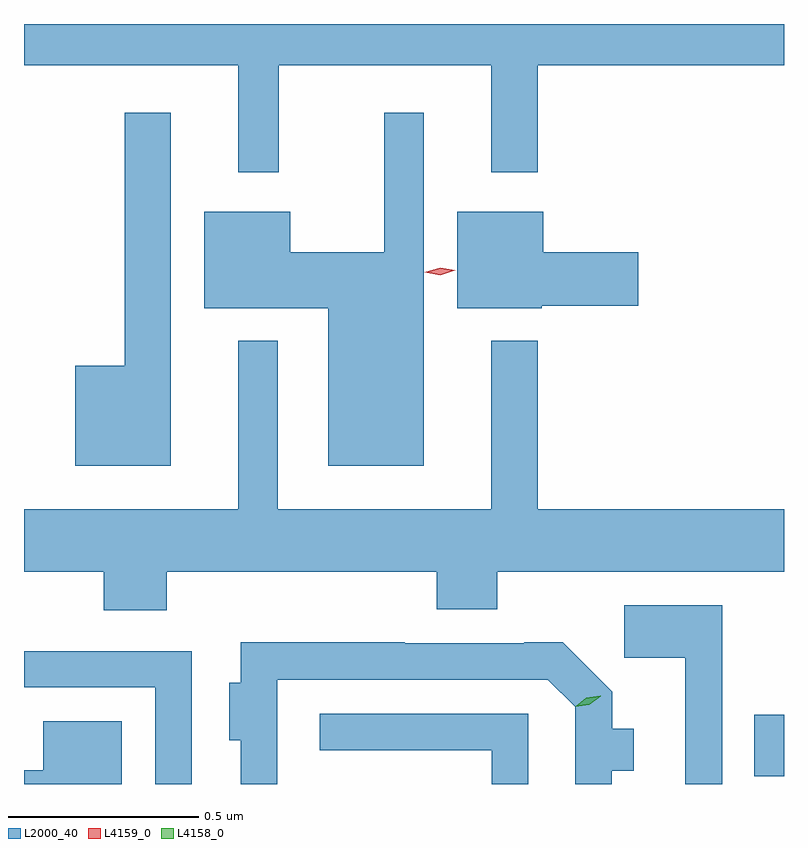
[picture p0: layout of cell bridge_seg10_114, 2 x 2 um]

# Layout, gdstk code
import gdstk
lib = gdstk.Library(unit=1e-6, precision=1e-09)
def R(c, l, rs):  # rectangles x0, y0, x1, y1
    for r in rs: c.add(gdstk.rectangle(r[:2], r[2:], *l))
def P(c, l, *ps):  # polygons
    for p in ps: c.add(gdstk.Polygon(p, *l))
L2000_40 = (2000, 40)
L4158_0 = (4158, 0)
L4159_0 = (4159, 0)

bridge_seg10_114 = lib.new_cell('bridge_seg10_114')
R(bridge_seg10_114, L2000_40, [(447.535,1267.81,447.613,1267.971)])
P(bridge_seg10_114, L2000_40, [(446.284,1269.68),(446.843,1269.68),(446.843,1269.399),(446.965,1269.399),(446.965,1269.68),(447.613,1269.68),(447.613,1269.789),(445.613,1269.789),(445.613,1269.68),(446.177,1269.68),(446.177,1269.399),(446.284,1269.399)],
  [(446.665,1269.556),(446.561,1269.556),(446.561,1269.188),(446.314,1269.188),(446.314,1269.295),(446.087,1269.295),(446.087,1269.041),(446.414,1269.041),(446.414,1268.627),(446.665,1268.627)],
  [(445.999,1269.556),(445.878,1269.556),(445.878,1268.89),(445.748,1268.89),(445.748,1268.627),(445.999,1268.627)],
  [(446.976,1269.047),(447.229,1269.047),(447.229,1269.189),(446.98,1269.189),(446.98,1269.295),(446.753,1269.295),(446.753,1269.041),(446.976,1269.041)],
  [(445.988,1268.348),(446.699,1268.348),(446.699,1268.249),(446.859,1268.249),(446.859,1268.348),(447.613,1268.348),(447.613,1268.512),(446.965,1268.512),(446.965,1268.956),(446.843,1268.956),(446.843,1268.512),(446.281,1268.512),(446.281,1268.956),(446.177,1268.956),(446.177,1268.512),(445.613,1268.512),(445.613,1268.348),(445.823,1268.348),(445.823,1268.246),(445.988,1268.246)],
  [(447.45,1268.26),(447.192,1268.26),(447.192,1268.121),(447.353,1268.121),(447.353,1267.789),(447.45,1267.789)],
  [(446.28,1268.064),(446.991,1268.064),(447.063,1267.992),(447.063,1267.789),(447.16,1267.789),(447.16,1267.824),(447.217,1267.824),(447.217,1267.934),(447.161,1267.934),(447.161,1268.032),(447.031,1268.162),(446.93,1268.162),(446.93,1268.16),(446.615,1268.16),(446.615,1268.162),(446.184,1268.162),(446.184,1268.056),(446.153,1268.056),(446.153,1267.904),(446.184,1267.904),(446.184,1267.789),(446.28,1267.789)],
  [(446.055,1268.139),(445.613,1268.139),(445.613,1268.043),(445.959,1268.043),(445.959,1267.789),(446.055,1267.789)],
  [(446.94,1267.974),(446.391,1267.974),(446.391,1267.878),(446.844,1267.878),(446.844,1267.789),(446.94,1267.789)],
  [(445.87,1267.954),(445.664,1267.954),(445.664,1267.825),(445.613,1267.825),(445.613,1267.789),(445.87,1267.789)])
P(bridge_seg10_114, L4158_0, [(447.064,1267.992),(447.064,1267.992),(447.064,1267.992),(447.093,1268.016),(447.13,1268.021),(447.131,1268.021),(447.131,1268.02),(447.101,1267.997)])
P(bridge_seg10_114, L4159_0, [(446.709,1269.128),(446.668,1269.136),(446.668,1269.136),(446.668,1269.136),(446.708,1269.148),(446.748,1269.141),(446.748,1269.141),(446.748,1269.141)])

lib.write_gds('bridge_seg10_114.gds')
